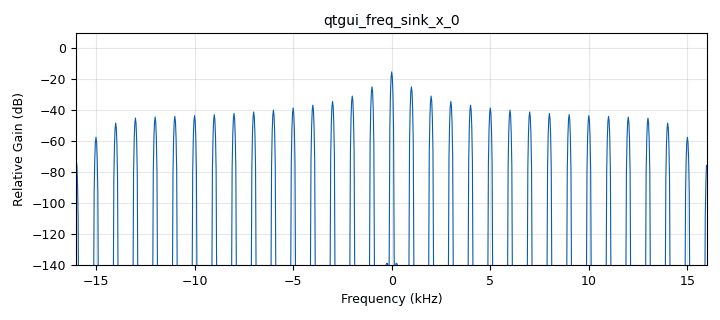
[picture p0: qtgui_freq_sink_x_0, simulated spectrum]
<?xml version='1.0' encoding='utf-8'?>
<?grc format='1' created='3.7.10'?>
<flow_graph>
<block>
<key>options</key>
<param><key>id</key><value>top_block</value></param>
<param><key>generate_options</key><value>qt_gui</value></param>
</block>
<block>
<key>variable</key>
<param><key>id</key><value>samp_rate</value></param>
<param><key>value</key><value>32000</value></param>
</block>
<block>
<key>analog_random_source_x</key>
<param><key>id</key><value>analog_random_source_x_0</value></param>
<param><key>max</key><value>2</value></param>
<param><key>min</key><value>0</value></param>
<param><key>num_samps</key><value>1000</value></param>
<param><key>type</key><value>int</value></param>
<param><key>repeat</key><value>True</value></param>
</block>
<block>
<key>analog_sig_source_x</key>
<param><key>id</key><value>analog_sig_source_x_0</value></param>
<param><key>amp</key><value>1</value></param>
<param><key>freq</key><value>1000</value></param>
<param><key>offset</key><value>0</value></param>
<param><key>type</key><value>float</value></param>
<param><key>samp_rate</key><value>samp_rate</value></param>
<param><key>waveform</key><value>analog.GR_SAW_WAVE</value></param>
</block>
<block>
<key>blocks_add_xx</key>
<param><key>id</key><value>blocks_add_xx_0</value></param>
<param><key>type</key><value>float</value></param>
</block>
<block>
<key>qtgui_freq_sink_x</key>
<param><key>id</key><value>qtgui_freq_sink_x_0</value></param>
<param><key>bw</key><value>samp_rate</value></param>
<param><key>fc</key><value>0</value></param>
<param><key>fftsize</key><value>1024</value></param>
<param><key>showports</key><value>True</value></param>
<param><key>type</key><value>float</value></param>
<param><key>wintype</key><value>firdes.WIN_BLACKMAN_hARRIS</value></param>
</block>
<block>
<key>rational_resampler_xxx</key>
<param><key>id</key><value>rational_resampler_xxx_0</value></param>
<param><key>decim</key><value>1</value></param>
<param><key>interp</key><value>1</value></param>
<param><key>taps</key><value></value></param>
<param><key>type</key><value>fff</value></param>
</block>
<connection><source_block_id>analog_random_source_x_0</source_block_id><sink_block_id>blocks_add_xx_0</sink_block_id><source_key>0</source_key><sink_key>1</sink_key></connection>
<connection><source_block_id>analog_sig_source_x_0</source_block_id><sink_block_id>blocks_add_xx_0</sink_block_id><source_key>0</source_key><sink_key>0</sink_key></connection>
<connection><source_block_id>blocks_add_xx_0</source_block_id><sink_block_id>rational_resampler_xxx_0</sink_block_id><source_key>0</source_key><sink_key>0</sink_key></connection>
<connection><source_block_id>rational_resampler_xxx_0</source_block_id><sink_block_id>qtgui_freq_sink_x_0</sink_block_id><source_key>0</source_key><sink_key>0</sink_key></connection>
</flow_graph>
